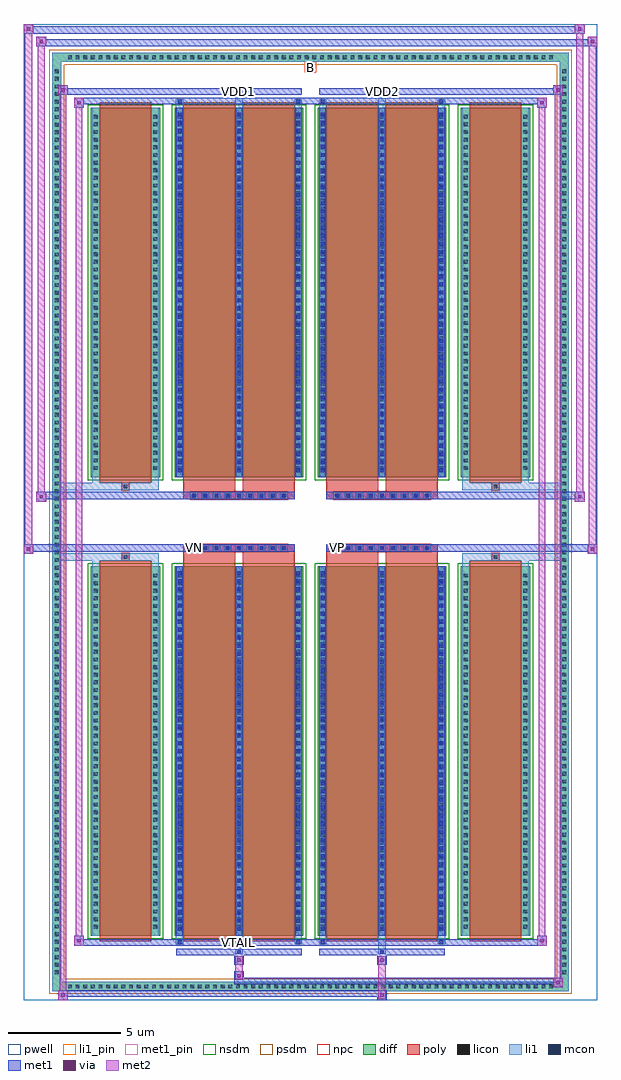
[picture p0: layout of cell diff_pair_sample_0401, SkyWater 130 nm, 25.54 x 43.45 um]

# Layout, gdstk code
import gdstk
lib = gdstk.Library(unit=1e-6, precision=5e-09)
def R(c, l, rs):  # rectangles x0, y0, x1, y1
    for r in rs: c.add(gdstk.rectangle(r[:2], r[2:], *l))
def A(c, l, x, y, w, h, nx, ny, dx, dy):  # array of equal rectangles
    R(c, l, [(x+i*dx, y+j*dy, x+i*dx+w, y+j*dy+h) for i in range(nx) for j in range(ny)])
def P(c, l, *ps):  # polygons
    for p in ps: c.add(gdstk.Polygon(p, *l))
pwell = (64, 44)
diff = (65, 20)
poly = (66, 20)
licon = (66, 44)
li1_pin = (67, 16)
li1 = (67, 20)
mcon = (67, 44)
met1_pin = (68, 16)
met1 = (68, 20)
via = (68, 44)
met2 = (69, 20)
nsdm = (93, 44)
psdm = (94, 20)
npc = (95, 20)

diff_pair_sample_0401 = lib.new_cell('diff_pair_sample_0401')
R(diff_pair_sample_0401, pwell, [(-12.77,-21.29,12.77,22.16), (-10.09,-19.48,-0.01,-0.8), (0.01,-19.48,10.09,-0.8), (-10.09,0.8,-0.01,19.48), (0.01,0.8,10.09,19.48)])
A(diff_pair_sample_0401, diff, -10.915, -20.89, 0.41, 0.41, 64, 2, 0.34, 41.37)
A(diff_pair_sample_0401, diff, -11.5, -20.265, 0.41, 0.41, 1, 119, 0, 0.34)
A(diff_pair_sample_0401, diff, 11.09, -20.265, 0.41, 0.41, 1, 119, 0, 0.34)
R(diff_pair_sample_0401, diff, [(-10.915,-20.89,10.915,-20.48), (-11.5,-20.265,-11.09,20.265), (11.09,-20.265,11.5,20.265), (-9.78,-18.435,-6.69,-1.985), (-6.05,-18.435,-0.32,-1.985), (0.32,-18.435,6.05,-1.985), (6.69,-18.435,9.78,-1.985), (-9.78,1.985,-6.69,18.435), (-6.05,1.985,-0.32,18.435), (0.32,1.985,6.05,18.435), (6.69,1.985,9.78,18.435), (-10.915,20.48,10.915,20.89)])
P(diff_pair_sample_0401, diff, [(11.5,20.89),(-11.5,20.89),(-11.5,-20.48),(-11.09,-20.48),(-11.09,20.48),(11.09,20.48),(11.09,-20.48),(-11.09,-20.48),(-11.5,-20.48),(-11.5,-20.89),(11.5,-20.89)])
A(diff_pair_sample_0401, poly, -5.35, -1.33, 0.33, 0.33, 9, 2, 0.5, 2.33)
A(diff_pair_sample_0401, poly, 1.02, -1.33, 0.33, 0.33, 9, 2, 0.5, 2.33)
R(diff_pair_sample_0401, poly, [(-9.39,-18.685,-7.08,-1.735), (-5.66,-18.685,-3.35,-1.735), (-3.02,-18.685,-0.71,-1.735), (0.71,-18.685,3.02,-1.735), (3.35,-18.685,5.66,-1.735), (7.08,-18.685,9.39,-1.735), (-8.4,-1.735,-8.07,-1.405), (-8.4,-1.735,-8.07,-1.405), (-5.66,-1.735,-3.35,-1.33), (-3.02,-1.735,-0.71,-1.33), (0.71,-1.735,3.02,-1.33), (3.35,-1.735,5.66,-1.33), (8.07,-1.735,8.4,-1.405), (8.07,-1.735,8.4,-1.405), (-5.66,-1.33,-0.71,-1), (0.71,-1.33,5.66,-1), (-5.66,1,-0.71,1.33), (0.71,1,5.66,1.33), (-5.66,1.33,-3.35,1.735), (-3.02,1.33,-0.71,1.735), (0.71,1.33,3.02,1.735), (3.35,1.33,5.66,1.735), (-8.4,1.405,-8.07,1.735), (-8.4,1.405,-8.07,1.735), (8.07,1.405,8.4,1.735), (8.07,1.405,8.4,1.735), (-9.39,1.735,-7.08,18.685), (-5.66,1.735,-3.35,18.685), (-3.02,1.735,-0.71,18.685), (0.71,1.735,3.02,18.685), (3.35,1.735,5.66,18.685), (7.08,1.735,9.39,18.685)])
A(diff_pair_sample_0401, licon, -10.795, -20.77, 0.17, 0.17, 64, 2, 0.34, 41.37)
A(diff_pair_sample_0401, licon, -11.38, -20.145, 0.17, 0.17, 1, 119, 0, 0.34)
A(diff_pair_sample_0401, licon, 11.21, -20.145, 0.17, 0.17, 1, 119, 0, 0.34)
A(diff_pair_sample_0401, licon, -9.64, -18.115, 0.17, 0.17, 1, 47, 0, 0.34)
A(diff_pair_sample_0401, licon, -7, -18.115, 0.17, 0.17, 1, 47, 0, 0.34)
A(diff_pair_sample_0401, licon, -5.91, -18.115, 0.17, 0.17, 3, 47, 2.64, 0.34)
A(diff_pair_sample_0401, licon, 0.46, -18.115, 0.17, 0.17, 3, 47, 2.64, 0.34)
A(diff_pair_sample_0401, licon, 6.83, -18.115, 0.17, 0.17, 1, 47, 0, 0.34)
A(diff_pair_sample_0401, licon, 9.47, -18.115, 0.17, 0.17, 1, 47, 0, 0.34)
A(diff_pair_sample_0401, licon, -5.27, -1.25, 0.17, 0.17, 9, 2, 0.5, 2.33)
A(diff_pair_sample_0401, licon, 1.1, -1.25, 0.17, 0.17, 9, 2, 0.5, 2.33)
A(diff_pair_sample_0401, licon, -9.64, 2.305, 0.17, 0.17, 1, 47, 0, 0.34)
A(diff_pair_sample_0401, licon, -7, 2.305, 0.17, 0.17, 1, 47, 0, 0.34)
A(diff_pair_sample_0401, licon, -5.91, 2.305, 0.17, 0.17, 3, 47, 2.64, 0.34)
A(diff_pair_sample_0401, licon, 0.46, 2.305, 0.17, 0.17, 3, 47, 2.64, 0.34)
A(diff_pair_sample_0401, licon, 6.83, 2.305, 0.17, 0.17, 1, 47, 0, 0.34)
A(diff_pair_sample_0401, licon, 9.47, 2.305, 0.17, 0.17, 1, 47, 0, 0.34)
R(diff_pair_sample_0401, licon, [(-8.32,-1.655,-8.15,-1.485), (8.15,-1.655,8.32,-1.485), (-8.32,1.485,-8.15,1.655), (8.15,1.485,8.32,1.655)])
R(diff_pair_sample_0401, li1_pin, [(-0.25,19.98,0.25,20.48)])
A(diff_pair_sample_0401, li1, -10.875, -20.85, 0.33, 0.33, 64, 2, 0.34, 41.37)
A(diff_pair_sample_0401, li1, -11.46, -20.225, 0.33, 0.33, 1, 119, 0, 0.34)
A(diff_pair_sample_0401, li1, 11.13, -20.225, 0.33, 0.33, 1, 119, 0, 0.34)
A(diff_pair_sample_0401, li1, -5.99, -18.435, 0.33, 16.45, 3, 2, 2.64, 20.42)
A(diff_pair_sample_0401, li1, 0.38, -18.435, 0.33, 16.45, 3, 2, 2.64, 20.42)
A(diff_pair_sample_0401, li1, -5.91, -18.215, 0.17, 0.17, 3, 45, 2.64, 0.36)
A(diff_pair_sample_0401, li1, -5.91, -18.215, 0.17, 16.01, 3, 2, 2.64, 20.42)
A(diff_pair_sample_0401, li1, 0.46, -18.215, 0.17, 0.17, 3, 45, 2.64, 0.36)
A(diff_pair_sample_0401, li1, 0.46, -18.215, 0.17, 16.01, 3, 2, 2.64, 20.42)
A(diff_pair_sample_0401, li1, -9.72, -18.195, 0.33, 0.33, 1, 47, 0, 0.34)
A(diff_pair_sample_0401, li1, -7.08, -18.195, 0.33, 0.33, 1, 47, 0, 0.34)
A(diff_pair_sample_0401, li1, -5.99, -18.195, 0.33, 0.33, 3, 47, 2.64, 0.34)
A(diff_pair_sample_0401, li1, 0.38, -18.195, 0.33, 0.33, 3, 47, 2.64, 0.34)
A(diff_pair_sample_0401, li1, 6.75, -18.195, 0.33, 0.33, 1, 47, 0, 0.34)
A(diff_pair_sample_0401, li1, 9.39, -18.195, 0.33, 0.33, 1, 47, 0, 0.34)
A(diff_pair_sample_0401, li1, -5.35, -1.33, 0.33, 0.33, 9, 2, 0.5, 2.33)
A(diff_pair_sample_0401, li1, 1.02, -1.33, 0.33, 0.33, 9, 2, 0.5, 2.33)
A(diff_pair_sample_0401, li1, -5.91, 2.205, 0.17, 0.17, 3, 45, 2.64, 0.36)
A(diff_pair_sample_0401, li1, 0.46, 2.205, 0.17, 0.17, 3, 45, 2.64, 0.36)
A(diff_pair_sample_0401, li1, -9.72, 2.225, 0.33, 0.33, 1, 47, 0, 0.34)
A(diff_pair_sample_0401, li1, -7.08, 2.225, 0.33, 0.33, 1, 47, 0, 0.34)
A(diff_pair_sample_0401, li1, -5.99, 2.225, 0.33, 0.33, 3, 47, 2.64, 0.34)
A(diff_pair_sample_0401, li1, 0.38, 2.225, 0.33, 0.33, 3, 47, 2.64, 0.34)
A(diff_pair_sample_0401, li1, 6.75, 2.225, 0.33, 0.33, 1, 47, 0, 0.34)
A(diff_pair_sample_0401, li1, 9.39, 2.225, 0.33, 0.33, 1, 47, 0, 0.34)
R(diff_pair_sample_0401, li1, [(-11.5,-20.89,-11.09,-20.48), (-11.5,-20.89,-11.09,-20.48), (-11.09,-20.89,11.09,-20.48), (11.09,-20.89,11.5,-20.48), (11.09,-20.89,11.5,-20.48), (-11.5,-20.48,-11.09,20.48), (11.09,-20.48,11.5,20.48), (-3.35,-19.24,-3.02,-18.435), (-3.27,-19.24,-3.1,-19.07), (3.02,-19.24,3.35,-18.435), (3.1,-19.24,3.27,-19.07), (-5.99,-18.81,-5.66,-18.435), (-5.91,-18.81,-5.74,-18.64), (-0.71,-18.81,-0.38,-18.435), (-0.63,-18.81,-0.46,-18.64), (0.38,-18.81,0.71,-18.435), (0.46,-18.81,0.63,-18.64), (5.66,-18.81,5.99,-18.435), (5.74,-18.81,5.91,-18.64), (-9.72,-18.435,-9.39,-1.985), (-7.08,-18.435,-6.75,-1.985), (6.75,-18.435,7.08,-1.985), (9.39,-18.435,9.72,-1.985), (-9.72,-1.985,-9.39,-1.405), (-7.08,-1.985,-6.75,-1.405), (6.75,-1.985,7.08,-1.405), (9.39,-1.985,9.72,-1.405), (-11.5,-1.735,-8.4,-1.405), (-9.72,-1.735,-8.4,-1.405), (-8.4,-1.735,-8.07,-1.405), (-8.07,-1.735,-6.75,-1.405), (6.75,-1.735,8.07,-1.405), (8.07,-1.735,8.4,-1.405), (8.07,-1.735,11.5,-1.405), (8.4,-1.735,9.72,-1.405), (-11.5,1.405,-8.4,1.735), (-9.72,1.405,-8.4,1.735), (-9.72,1.405,-9.39,1.985), (-8.4,1.405,-8.07,1.735), (-8.07,1.405,-6.75,1.735), (-7.08,1.405,-6.75,1.985), (6.75,1.405,8.07,1.735), (6.75,1.405,7.08,1.985), (8.07,1.405,8.4,1.735), (8.07,1.405,11.5,1.735), (8.4,1.405,9.72,1.735), (9.39,1.405,9.72,1.985), (-9.72,1.985,-9.39,18.435), (-7.08,1.985,-6.75,18.435), (6.75,1.985,7.08,18.435), (9.39,1.985,9.72,18.435), (-5.99,18.435,-5.66,18.81), (-3.35,18.435,-3.02,19.24), (-0.71,18.435,-0.38,18.81), (0.38,18.435,0.71,18.81), (3.02,18.435,3.35,19.24), (5.66,18.435,5.99,18.81), (-5.91,18.64,-5.74,18.81), (-0.63,18.64,-0.46,18.81), (0.46,18.64,0.63,18.81), (5.74,18.64,5.91,18.81), (-3.27,19.07,-3.1,19.24), (3.1,19.07,3.27,19.24), (-11.5,20.48,-11.09,20.89), (-11.5,20.48,-11.09,20.89), (-11.09,20.48,11.09,20.89), (11.09,20.48,11.5,20.89), (11.09,20.48,11.5,20.89)])
A(diff_pair_sample_0401, mcon, -5.91, -18.215, 0.17, 0.17, 3, 45, 2.64, 0.36)
A(diff_pair_sample_0401, mcon, 0.46, -18.215, 0.17, 0.17, 3, 45, 2.64, 0.36)
A(diff_pair_sample_0401, mcon, -5.27, -1.25, 0.17, 0.17, 9, 2, 0.5, 2.33)
A(diff_pair_sample_0401, mcon, 1.1, -1.25, 0.17, 0.17, 9, 2, 0.5, 2.33)
A(diff_pair_sample_0401, mcon, -5.91, 2.205, 0.17, 0.17, 3, 45, 2.64, 0.36)
A(diff_pair_sample_0401, mcon, 0.46, 2.205, 0.17, 0.17, 3, 45, 2.64, 0.36)
R(diff_pair_sample_0401, mcon, [(-3.27,-19.24,-3.1,-19.07), (3.1,-19.24,3.27,-19.07), (-5.91,-18.81,-5.74,-18.64), (-0.63,-18.81,-0.46,-18.64), (0.46,-18.81,0.63,-18.64), (5.74,-18.81,5.91,-18.64), (-5.91,18.64,-5.74,18.81), (-0.63,18.64,-0.46,18.81), (0.46,18.64,0.63,18.81), (5.74,18.64,5.91,18.81), (-3.27,19.07,-3.1,19.24), (3.1,19.07,3.27,19.24)])
R(diff_pair_sample_0401, met1_pin, [(-3.32,-18.85,-3.05,-18.58), (-5.32,-1.29,-5.05,-1.02), (1.05,-1.29,1.32,-1.02), (-3.32,19.03,-3.05,19.3), (3.05,19.03,3.32,19.3)])
A(diff_pair_sample_0401, met1, -5.97, -18.435, 0.29, 16.45, 3, 2, 2.64, 20.42)
A(diff_pair_sample_0401, met1, 0.4, -18.435, 0.29, 16.45, 3, 2, 2.64, 20.42)
A(diff_pair_sample_0401, met1, -5.97, -18.275, 0.29, 0.29, 3, 45, 2.64, 0.36)
A(diff_pair_sample_0401, met1, 0.4, -18.275, 0.29, 0.29, 3, 45, 2.64, 0.36)
A(diff_pair_sample_0401, met1, -5.33, -1.31, 0.29, 0.29, 9, 2, 0.5, 2.33)
A(diff_pair_sample_0401, met1, 1.04, -1.31, 0.29, 0.29, 9, 2, 0.5, 2.33)
A(diff_pair_sample_0401, met1, -5.97, 2.145, 0.29, 0.29, 3, 45, 2.64, 0.36)
A(diff_pair_sample_0401, met1, 0.4, 2.145, 0.29, 0.29, 3, 45, 2.64, 0.36)
R(diff_pair_sample_0401, met1, [(-11.23,-21.29,-10.8,-20.86), (2.97,-21.29,3.4,-20.86), (-11.23,-21.15,3.4,-20.86), (10.8,-20.72,11.23,-20.29), (-3.4,-20.58,11.23,-20.29), (-3.4,-20.44,-2.97,-20.01), (-3.4,-19.73,-2.97,-19.3), (2.97,-19.73,3.4,-19.3), (-5.97,-19.3,-0.4,-19.01), (-3.33,-19.3,-3.04,-19.01), (0.4,-19.3,5.97,-19.01), (3.04,-19.3,3.33,-19.01), (-10.52,-18.87,-10.09,-18.44), (-10.52,-18.87,-5.97,-18.58), (-5.97,-18.87,-5.68,-18.58), (-5.97,-18.87,-0.4,-18.58), (-0.69,-18.87,-0.4,-18.58), (-0.4,-18.87,0.4,-18.58), (0.4,-18.87,0.69,-18.58), (0.4,-18.87,5.97,-18.58), (5.68,-18.87,5.97,-18.58), (5.97,-18.87,10.52,-18.58), (10.09,-18.87,10.52,-18.44), (-12.77,-1.43,-12.34,-1), (12.34,-1.43,12.77,-1), (-12.77,-1.33,-0.71,-1), (-5.66,-1.33,-0.71,-1), (0.71,-1.33,5.66,-1), (0.71,-1.33,12.77,-1), (-12.2,0.9,-11.77,1.33), (11.77,0.9,12.2,1.33), (-12.2,1,-5.66,1.33), (-5.66,1,-0.71,1.33), (0.71,1,5.66,1.33), (5.66,1,12.2,1.33), (-10.52,18.44,-10.09,18.87), (10.09,18.44,10.52,18.87), (-10.52,18.58,-5.97,18.87), (-5.97,18.58,-5.68,18.87), (-5.97,18.58,-0.4,18.87), (-0.69,18.58,-0.4,18.87), (-0.4,18.58,0.4,18.87), (0.4,18.58,0.69,18.87), (0.4,18.58,5.97,18.87), (5.68,18.58,5.97,18.87), (5.97,18.58,10.52,18.87), (-11.23,19.01,-10.8,19.44), (-11.23,19.01,-5.97,19.3), (-5.97,19.01,-0.4,19.3), (-3.33,19.01,-3.04,19.3), (0.4,19.01,5.97,19.3), (3.04,19.01,3.33,19.3), (5.97,19.01,11.23,19.3), (10.8,19.01,11.23,19.44), (-12.2,21.16,-11.77,21.59), (-12.2,21.16,-10.09,21.49), (-10.09,21.16,10.09,21.49), (10.09,21.16,12.77,21.49), (12.34,21.16,12.77,21.59), (-12.77,21.73,-12.34,22.16), (-12.77,21.73,-10.09,22.06), (-10.09,21.73,10.09,22.06), (10.09,21.73,12.2,22.06), (11.77,21.73,12.2,22.16)])
R(diff_pair_sample_0401, via, [(-11.09,-21.15,-10.94,-21), (3.11,-21.15,3.26,-21), (10.94,-20.58,11.09,-20.43), (-3.26,-20.3,-3.11,-20.15), (-3.26,-19.59,-3.11,-19.44), (3.11,-19.59,3.26,-19.44), (-10.38,-18.73,-10.23,-18.58), (10.23,-18.73,10.38,-18.58), (-12.63,-1.29,-12.48,-1.14), (12.48,-1.29,12.63,-1.14), (-12.06,1.04,-11.91,1.19), (11.91,1.04,12.06,1.19), (-10.38,18.58,-10.23,18.73), (10.23,18.58,10.38,18.73), (-11.09,19.15,-10.94,19.3), (10.94,19.15,11.09,19.3), (-12.06,21.3,-11.91,21.45), (12.48,21.3,12.63,21.45), (-12.63,21.87,-12.48,22.02), (11.91,21.87,12.06,22.02)])
R(diff_pair_sample_0401, met2, [(-11.23,-21.29,-10.8,-20.86), (-11.16,-21.29,-10.87,19.44), (-10.87,-21.29,-10.8,-20.86), (-11.18,-21.24,-10.85,-20.91), (3.02,-21.24,3.35,-20.91), (3.02,-20.91,3.35,-19.68), (10.8,-20.72,11.23,-20.29), (10.87,-20.72,11.16,19.44), (11.16,-20.72,11.23,-20.29), (10.85,-20.67,11.18,-20.34), (-3.35,-20.39,-3.02,-20.06), (-3.35,-20.06,-3.02,-19.68), (-3.35,-19.68,-3.02,-19.35), (3.02,-19.68,3.35,-19.35), (-10.52,-18.87,-10.09,-18.44), (-10.45,-18.87,-10.16,18.87), (-10.16,-18.87,-10.09,-18.44), (10.09,-18.87,10.52,-18.44), (10.16,-18.87,10.45,18.87), (10.45,-18.87,10.52,-18.44), (-10.47,-18.82,-10.14,-18.49), (10.14,-18.82,10.47,-18.49), (-12.77,-1.43,-12.34,-1), (-12.72,-1.43,-12.39,22.16), (-12.39,-1.43,-12.34,-1), (12.34,-1.43,12.77,-1), (12.39,-1.43,12.72,21.59), (12.72,-1.43,12.77,-1), (-12.72,-1.38,-12.39,-1.05), (12.39,-1.38,12.72,-1.05), (-12.2,0.9,-11.77,1.33), (-12.15,0.9,-11.82,21.59), (-11.82,0.9,-11.77,1.33), (11.77,0.9,12.2,1.33), (11.82,0.9,12.15,22.16), (12.15,0.9,12.2,1.33), (-12.15,0.95,-11.82,1.28), (11.82,0.95,12.15,1.28), (-10.52,18.44,-10.09,18.87), (-10.16,18.44,-10.09,18.87), (10.09,18.44,10.52,18.87), (10.45,18.44,10.52,18.87), (-10.47,18.49,-10.14,18.82), (10.14,18.49,10.47,18.82), (-11.23,19.01,-10.8,19.44), (-10.87,19.01,-10.8,19.44), (10.8,19.01,11.23,19.44), (11.16,19.01,11.23,19.44), (-11.18,19.06,-10.85,19.39), (10.85,19.06,11.18,19.39), (-12.2,21.16,-11.77,21.59), (-11.82,21.16,-11.77,21.59), (12.34,21.16,12.77,21.59), (12.72,21.16,12.77,21.59), (-12.15,21.21,-11.82,21.54), (12.39,21.21,12.72,21.54), (-12.77,21.73,-12.34,22.16), (-12.39,21.73,-12.34,22.16), (11.77,21.73,12.2,22.16), (12.15,21.73,12.2,22.16), (-12.72,21.78,-12.39,22.11), (11.82,21.78,12.15,22.11)])
R(diff_pair_sample_0401, nsdm, [(-9.91,-18.565,-6.56,-1.855), (-6.18,-18.565,-0.19,-1.855), (0.19,-18.565,6.18,-1.855), (6.56,-18.565,9.91,-1.855), (-9.91,1.855,-6.56,18.565), (-6.18,1.855,-0.19,18.565), (0.19,1.855,6.18,18.565), (6.56,1.855,9.91,18.565)])
P(diff_pair_sample_0401, psdm, [(11.63,21.02),(-11.63,21.02),(-11.63,-20.35),(-10.96,-20.35),(-10.96,20.35),(10.96,20.35),(10.96,-20.35),(-10.96,-20.35),(-11.63,-20.35),(-11.63,-21.02),(11.63,-21.02)])
A(diff_pair_sample_0401, npc, -5.37, -1.35, 0.37, 0.37, 9, 2, 0.5, 2.33)
A(diff_pair_sample_0401, npc, 1, -1.35, 0.37, 0.37, 9, 2, 0.5, 2.33)
R(diff_pair_sample_0401, npc, [(-8.42,-1.755,-8.05,-1.385), (8.05,-1.755,8.42,-1.385), (-5.37,-1.35,-4.5,-0.98), (-5.37,-1.35,-4.5,-0.98), (-4.87,-1.35,-4,-0.98), (-4.87,-1.35,-4,-0.98), (-4.37,-1.35,-3.5,-0.98), (-4.37,-1.35,-3.5,-0.98), (-3.87,-1.35,-3,-0.98), (-3.87,-1.35,-3,-0.98), (-3.37,-1.35,-2.5,-0.98), (-3.37,-1.35,-2.5,-0.98), (-2.87,-1.35,-2,-0.98), (-2.87,-1.35,-2,-0.98), (-2.37,-1.35,-1.5,-0.98), (-2.37,-1.35,-1.5,-0.98), (-1.87,-1.35,-1,-0.98), (-1.87,-1.35,-1,-0.98), (1,-1.35,1.87,-0.98), (1,-1.35,1.87,-0.98), (1.5,-1.35,2.37,-0.98), (1.5,-1.35,2.37,-0.98), (2,-1.35,2.87,-0.98), (2,-1.35,2.87,-0.98), (2.5,-1.35,3.37,-0.98), (2.5,-1.35,3.37,-0.98), (3,-1.35,3.87,-0.98), (3,-1.35,3.87,-0.98), (3.5,-1.35,4.37,-0.98), (3.5,-1.35,4.37,-0.98), (4,-1.35,4.87,-0.98), (4,-1.35,4.87,-0.98), (4.5,-1.35,5.37,-0.98), (4.5,-1.35,5.37,-0.98), (-5.37,0.98,-4.5,1.35), (-5.37,0.98,-4.5,1.35), (-4.87,0.98,-4,1.35), (-4.87,0.98,-4,1.35), (-4.37,0.98,-3.5,1.35), (-4.37,0.98,-3.5,1.35), (-3.87,0.98,-3,1.35), (-3.87,0.98,-3,1.35), (-3.37,0.98,-2.5,1.35), (-3.37,0.98,-2.5,1.35), (-2.87,0.98,-2,1.35), (-2.87,0.98,-2,1.35), (-2.37,0.98,-1.5,1.35), (-2.37,0.98,-1.5,1.35), (-1.87,0.98,-1,1.35), (-1.87,0.98,-1,1.35), (1,0.98,1.87,1.35), (1,0.98,1.87,1.35), (1.5,0.98,2.37,1.35), (1.5,0.98,2.37,1.35), (2,0.98,2.87,1.35), (2,0.98,2.87,1.35), (2.5,0.98,3.37,1.35), (2.5,0.98,3.37,1.35), (3,0.98,3.87,1.35), (3,0.98,3.87,1.35), (3.5,0.98,4.37,1.35), (3.5,0.98,4.37,1.35), (4,0.98,4.87,1.35), (4,0.98,4.87,1.35), (4.5,0.98,5.37,1.35), (4.5,0.98,5.37,1.35), (-8.42,1.385,-8.05,1.755), (8.05,1.385,8.42,1.755)])
diff_pair_sample_0401.add(gdstk.Label('VTAIL', (-3.185,-18.715), layer=68, texttype=5))
diff_pair_sample_0401.add(gdstk.Label('VN', (-5.185,-1.155), layer=68, texttype=5))
diff_pair_sample_0401.add(gdstk.Label('VP', (1.185,-1.155), layer=68, texttype=5))
diff_pair_sample_0401.add(gdstk.Label('B', (0,20.23), layer=67, texttype=5))
diff_pair_sample_0401.add(gdstk.Label('VDD2', (3.185,19.165), layer=68, texttype=5))
diff_pair_sample_0401.add(gdstk.Label('VDD1', (-3.185,19.165), layer=68, texttype=5))

lib.write_gds('diff_pair_sample_0401.gds')
